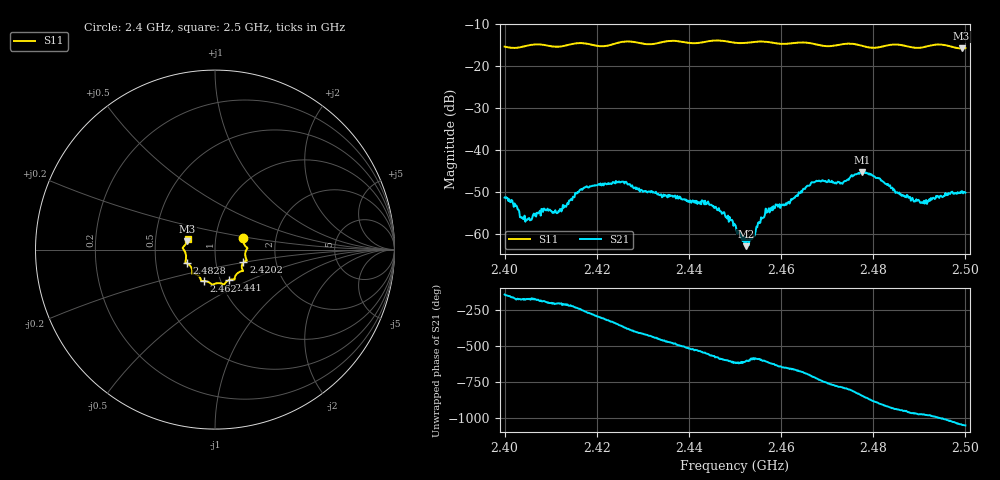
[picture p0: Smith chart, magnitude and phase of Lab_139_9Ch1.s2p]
# Hz S RI R 50
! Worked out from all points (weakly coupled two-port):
!   601 points, 2.4 GHz to 2.5 GHz, reference 50 ohm
!   highest |S21| = -45.20 dB at 2.4777 GHz (marker M1); lowest = -62.9 dB at 2.4523 GHz (marker M2)
!   lowest |S11| = -15.8 dB at 2.4992 GHz (marker M3), VSWR 1.39, Z = 36.5 + j3.66 ohm
!   |S11| at or under -10 dB: start of sweep to end of sweep
!   S12 and S22 are empty: the file has one direction only
!   S11 on the Smith chart (normalised r, x): 2.4 GHz: 1.36, +0.18; 2.4202 GHz: 1.36, -0.20; 2.441 GHz: 1.10, -0.39; 2.462 GHz: 0.84, -0.30; 2.4828 GHz: 0.72, -0.11; 2.5 GHz: 0.73, +0.09
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2.4e9  0.1583 0.0629  -0.00212 -0.0017  0 0  0 0
2.405e9  0.1747 0.0139  -0.00149 -0.000172  0 0  0 0
2.411833e9  0.168 -0.0262  -0.00171 0.000701  0 0  0 0
2.416667e9  0.1773 -0.0607  -0.00133 0.00317  0 0  0 0
2.420167e9  0.1583 -0.0712  0.00151 0.00349  0 0  0 0
2.426e9  0.1562 -0.1174  0.00394 -0.000717  0 0  0 0
2.433333e9  0.1116 -0.1511  9.69e-05 -0.003  0 0  0 0
2.441e9  0.0785 -0.1695  -0.00238 -0.000671  0 0  0 0
2.444667e9  0.0533 -0.1917  -0.00201 0.000979  0 0  0 0
2.45e9  0.0285 -0.1872  -0.00037 0.00124  0 0  0 0
2.452333e9  0.00464 -0.1887  -0.000293 0.000655  0 0  0 0
2.453833e9  -0.00666 -0.193  -0.000629 0.000645  0 0  0 0
2.457167e9  -0.0204 -0.192  -0.000563 0.00182  0 0  0 0
2.462e9  -0.0606 -0.1754  0.00109 0.00217  0 0  0 0
2.466667e9  -0.0785 -0.1683  0.00409 0.000691  0 0  0 0
2.473167e9  -0.1214 -0.1347  0.00156 -0.00371  0 0  0 0
2.477667e9  -0.1267 -0.1188  -0.00326 -0.00442  0 0  0 0
2.482833e9  -0.1572 -0.0766  -0.00376 0.0012  0 0  0 0
2.483333e9  -0.1605 -0.0752  -0.00352 0.00142  0 0  0 0
2.490667e9  -0.1659 -0.0152  -0.000596 0.0023  0 0  0 0
2.499167e9  -0.1545 0.0488  0.00266 0.00184  0 0  0 0
2.5e9  -0.1518 0.061  0.00275 0.00145  0 0  0 0
